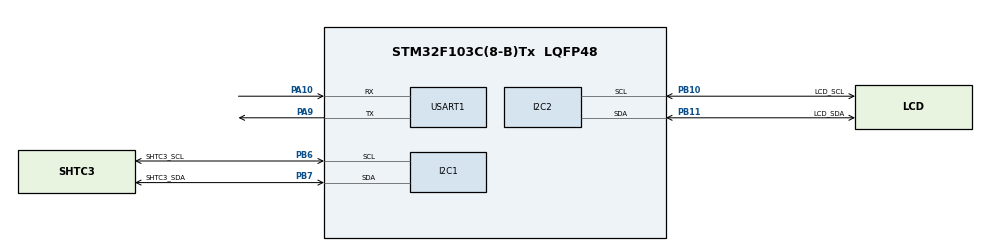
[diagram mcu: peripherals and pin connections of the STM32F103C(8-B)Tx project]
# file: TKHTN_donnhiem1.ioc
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Mcu.Family=STM32F1
Mcu.Name=STM32F103C(8-B)Tx
Mcu.Package=LQFP48
NVIC.PriorityGroup=NVIC_PRIORITYGROUP_4
NVIC.USART1_IRQn=true\:0\:0\:false\:false\:true\:true\:true\:true
PA10.Mode=Asynchronous
PA10.Signal=USART1_RX
PA13.Mode=Serial_Wire
PA13.Signal=SYS_JTMS-SWDIO
PA14.Mode=Serial_Wire
PA14.Signal=SYS_JTCK-SWCLK
PA9.Mode=Asynchronous
PA9.Signal=USART1_TX
PB10.GPIO_Label=LCD_SCL
PB10.Mode=I2C
PB10.Signal=I2C2_SCL
PB11.GPIO_Label=LCD_SDA
PB11.Mode=I2C
PB11.Signal=I2C2_SDA
PB6.GPIO_Label=SHTC3_SCL
PB6.Mode=I2C
PB6.Signal=I2C1_SCL
PB7.GPIO_Label=SHTC3_SDA
PB7.Mode=I2C
PB7.Signal=I2C1_SDA
ProjectManager.HeapSize=0x200
ProjectManager.StackSize=0x400
ProjectManager.TargetToolchain=STM32CubeIDE
RCC.APB1Freq_Value=8000000
RCC.APB2Freq_Value=8000000
USART1.VirtualMode=VM_ASYNC
board=custom

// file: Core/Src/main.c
/* USER CODE BEGIN Header */
/**
  ******************************************************************************
  * @file           : main.c
  * @brief          : Main program body
  ******************************************************************************
  * @attention
  *
  * Copyright (c) 2025 STMicroelectronics.
  * All rights reserved.
  *
  * This software is licensed under terms that can be found in the LICENSE file
  * in the root directory of this software component.
  * If no LICENSE file comes with this software, it is provided AS-IS.
  *
  ******************************************************************************
  */
/* USER CODE END Header */
#include "main.h"

/* USER CODE BEGIN Includes */
#include "CLCD_I2C.h"
#include "string.h"
#include "stdio.h"

/* USER CODE END Includes */

/* USER CODE BEGIN PTD */
typedef enum
{
	DISPLAY_TEMP,
	DISPLAY_HUMID,
	DISPLAY_ALL
} DisplayMode_t;

/* USER CODE END PTD */

I2C_HandleTypeDef hi2c1;
I2C_HandleTypeDef hi2c2;

UART_HandleTypeDef huart1;

/* USER CODE BEGIN PV */
int p = 5000;
volatile DisplayMode_t DisplayMode = DISPLAY_ALL;
CLCD_I2C_Name LCD1;

/* shtc3 -----------------------------------------------*/
#define SHTC3_ADDRESS (0x70<<1)
uint8_t rev_buffer[6];				// buffer giao tiep voi cam bien
uint8_t wakeup_cmd[2] = {0x35,0x17};
uint8_t measure_cmd[2] = {0x7C,0xA2};
uint8_t sleep_cmd[2] = {0xB0,0x98};
float temperature = 0.0f;
float humidity = 0.0f;

uint8_t rxData[5];
uint32_t start_time_SHTC3, end_time_SHTC3, elapsed_time_SHTC3;
uint32_t start_time_CLCD, end_time_CLCD, elapsed_time_CLCD;
uint32_t start_time_UART, end_time_UART, elapsed_time_UART;
/* USER CODE END PV */

void SystemClock_Config(void);
static void MX_GPIO_Init(void);
static void MX_I2C1_Init(void);
static void MX_I2C2_Init(void);
static void MX_USART1_UART_Init(void);
/* USER CODE BEGIN PFP */
void measure();
void write_clcd();
void send_uart();
/* USER CODE END PFP */

/* USER CODE BEGIN 0 */
__weak void HAL_UART_RxCpltCallback(UART_HandleTypeDef *huart)
{
  /* Prevent unused argument(s) compilation warning */
  UNUSED(huart);
  if(huart->Instance == USART1){
	 // rxData[sizeof(rxData) - 1] = '\0';
	if ((rxData[0] == 't') && (rxData[1] == 'e') && (rxData[2] == 'm') && (rxData[3] == 'p'))
	{
		DisplayMode = DISPLAY_TEMP;
		printf("Change Display Mode to DISPLAY_TEMP\r\n\n");
		//memset(rxData, 0, sizeof(rxData));
	}
	else if ((rxData[0] == 'h') && (rxData[1] == 'u') && (rxData[2] == 'm') && (rxData[3] == 'i'))
	{
		DisplayMode = DISPLAY_HUMID;
		printf("Change Display Mode to DISPLAY_HUMI\r\n\n");
		//memset(rxData, 0, sizeof(rxData));
	}
	else if ((rxData[0] == 'b') && (rxData[1] == 'o') && (rxData[2] == 't') && (rxData[3] == 'h'))
	{
		DisplayMode = DISPLAY_ALL;
		printf("Change Display Mode to DISPLAY_ALL\r\n\n");
		//memset(rxData, 0, sizeof(rxData));
	}
	else
	{
		printf("Error Command Syntax\r\n\n");
	}
	HAL_UART_Receive_IT(&huart1, rxData, sizeof(rxData) - 1);
  }

  /* NOTE: This function should not be modified, when the callback is needed,
           the HAL_UART_RxCpltCallback could be implemented in the user file
   */
}
/* USER CODE END 0 */

int main(void)
{

  /* MCU Configuration--------------------------------------------------------*/

  /* Reset of all peripherals, Initializes the Flash interface and the Systick. */
  HAL_Init();

  /* Configure the system clock */
  SystemClock_Config();

  /* Initialize all configured peripherals */
  MX_GPIO_Init();
  MX_I2C1_Init();
  MX_I2C2_Init();
  MX_USART1_UART_Init();
  /* USER CODE BEGIN 2 */
  CLCD_I2C_Init(&LCD1, &hi2c2, 0X4e, 20, 4);
  CLCD_I2C_SetCursor(&LCD1,0,0);
  CLCD_I2C_WriteString(&LCD1,"Start");
  HAL_UART_Receive_IT(&huart1, rxData, sizeof(rxData) - 1);
  /* USER CODE END 2 */

  /* Infinite loop */
  while (1)
  {
  if(uwTick%p == 0){
	  start_time_SHTC3 = HAL_GetTick();
	  measure();
	  end_time_SHTC3 = HAL_GetTick();
	  elapsed_time_SHTC3 = -(start_time_SHTC3 - end_time_SHTC3);

	  start_time_CLCD = HAL_GetTick();
	  write_clcd();
	  end_time_CLCD = HAL_GetTick();
	  elapsed_time_CLCD = -(start_time_CLCD - end_time_CLCD);

	  start_time_UART = HAL_GetTick();
	  send_uart();
	  end_time_UART = HAL_GetTick();
	  elapsed_time_UART = -(start_time_UART - end_time_UART);

	  //HAL_Delay(2000);
	  }
  }
}

void SystemClock_Config(void)
{
  RCC_OscInitTypeDef RCC_OscInitStruct = {0};
  RCC_ClkInitTypeDef RCC_ClkInitStruct = {0};

  /** Initializes the RCC Oscillators according to the specified parameters
  * in the RCC_OscInitTypeDef structure.
  */
  RCC_OscInitStruct.OscillatorType = RCC_OSCILLATORTYPE_HSI;
  RCC_OscInitStruct.HSIState = RCC_HSI_ON;
  RCC_OscInitStruct.HSICalibrationValue = RCC_HSICALIBRATION_DEFAULT;
  RCC_OscInitStruct.PLL.PLLState = RCC_PLL_NONE;
  if (HAL_RCC_OscConfig(&RCC_OscInitStruct) != HAL_OK)
  {
    Error_Handler();
  }

  /** Initializes the CPU, AHB and APB buses clocks
  */
  RCC_ClkInitStruct.ClockType = RCC_CLOCKTYPE_HCLK|RCC_CLOCKTYPE_SYSCLK
                              |RCC_CLOCKTYPE_PCLK1|RCC_CLOCKTYPE_PCLK2;
  RCC_ClkInitStruct.SYSCLKSource = RCC_SYSCLKSOURCE_HSI;
  RCC_ClkInitStruct.AHBCLKDivider = RCC_SYSCLK_DIV1;
  RCC_ClkInitStruct.APB1CLKDivider = RCC_HCLK_DIV1;
  RCC_ClkInitStruct.APB2CLKDivider = RCC_HCLK_DIV1;

  if (HAL_RCC_ClockConfig(&RCC_ClkInitStruct, FLASH_LATENCY_0) != HAL_OK)
  {
    Error_Handler();
  }
}

static void MX_I2C1_Init(void)
{

  hi2c1.Instance = I2C1;
  hi2c1.Init.ClockSpeed = 100000;
  hi2c1.Init.DutyCycle = I2C_DUTYCYCLE_2;
  hi2c1.Init.OwnAddress1 = 0;
  hi2c1.Init.AddressingMode = I2C_ADDRESSINGMODE_7BIT;
  hi2c1.Init.DualAddressMode = I2C_DUALADDRESS_DISABLE;
  hi2c1.Init.OwnAddress2 = 0;
  hi2c1.Init.GeneralCallMode = I2C_GENERALCALL_DISABLE;
  hi2c1.Init.NoStretchMode = I2C_NOSTRETCH_DISABLE;
  if (HAL_I2C_Init(&hi2c1) != HAL_OK)
  {
    Error_Handler();
  }

}

static void MX_I2C2_Init(void)
{

  hi2c2.Instance = I2C2;
  hi2c2.Init.ClockSpeed = 100000;
  hi2c2.Init.DutyCycle = I2C_DUTYCYCLE_2;
  hi2c2.Init.OwnAddress1 = 0;
  hi2c2.Init.AddressingMode = I2C_ADDRESSINGMODE_7BIT;
  hi2c2.Init.DualAddressMode = I2C_DUALADDRESS_DISABLE;
  hi2c2.Init.OwnAddress2 = 0;
  hi2c2.Init.GeneralCallMode = I2C_GENERALCALL_DISABLE;
  hi2c2.Init.NoStretchMode = I2C_NOSTRETCH_DISABLE;
  if (HAL_I2C_Init(&hi2c2) != HAL_OK)
  {
    Error_Handler();
  }

}

static void MX_USART1_UART_Init(void)
{

  huart1.Instance = USART1;
  huart1.Init.BaudRate = 115200;
  huart1.Init.WordLength = UART_WORDLENGTH_8B;
  huart1.Init.StopBits = UART_STOPBITS_1;
  huart1.Init.Parity = UART_PARITY_NONE;
  huart1.Init.Mode = UART_MODE_TX_RX;
  huart1.Init.HwFlowCtl = UART_HWCONTROL_NONE;
  huart1.Init.OverSampling = UART_OVERSAMPLING_16;
  if (HAL_UART_Init(&huart1) != HAL_OK)
  {
    Error_Handler();
  }

}

static void MX_GPIO_Init(void)
{

  /* GPIO Ports Clock Enable */
  __HAL_RCC_GPIOB_CLK_ENABLE();
  __HAL_RCC_GPIOA_CLK_ENABLE();

}

/* USER CODE BEGIN 4 */
void measure(){
	uint16_t hex_ther;
	uint16_t hex_moisture;
	HAL_I2C_Master_Transmit(&hi2c1,SHTC3_ADDRESS, wakeup_cmd ,2, 500);
	HAL_Delay(1);
	HAL_I2C_Master_Transmit(&hi2c1,SHTC3_ADDRESS, measure_cmd ,2, 500);
	HAL_Delay(15);
	HAL_I2C_Master_Receive(&hi2c1,SHTC3_ADDRESS, rev_buffer ,6,500);
	HAL_I2C_Master_Transmit(&hi2c1,SHTC3_ADDRESS, sleep_cmd ,2, 500);
	hex_ther = (rev_buffer[0]<<8)|rev_buffer[1];
	hex_moisture = (rev_buffer[3]<<8)|rev_buffer[4];
	temperature = -45.0f + 175.0f * (float)hex_ther / 65535.0f;
	humidity = 100.0f * (float)hex_moisture / 65535.0f;
}

void write_clcd(){
// char temp_str[16];
  char lcd_str[16];
  switch(DisplayMode){
  case DISPLAY_ALL:
	sprintf(lcd_str, "Humidity: %.2f%%", humidity);
	CLCD_I2C_SetCursor(&LCD1,0,1);
	CLCD_I2C_WriteString(&LCD1,lcd_str);
	sprintf(lcd_str, "Temp: %.2f C   ",temperature);
	CLCD_I2C_SetCursor(&LCD1,0,0);
	CLCD_I2C_WriteString(&LCD1,lcd_str);
	break;
  case DISPLAY_HUMID:
	sprintf(lcd_str, "Humidity: %.2f%%", humidity);
	CLCD_I2C_SetCursor(&LCD1,0,0);
	CLCD_I2C_WriteString(&LCD1,lcd_str);
	CLCD_I2C_SetCursor(&LCD1,0,1);
	CLCD_I2C_WriteString(&LCD1,"                ");
	break;
  case DISPLAY_TEMP:
	sprintf(lcd_str, "Temp: %.2f C   ",temperature);
	CLCD_I2C_SetCursor(&LCD1,0,0);
	CLCD_I2C_WriteString(&LCD1,lcd_str);
	CLCD_I2C_SetCursor(&LCD1,0,1);
	CLCD_I2C_WriteString(&LCD1,"                ");
	break;
  }
}
void send_uart(){
  char data[64];
  sprintf(data, "Temperature: %.2f C, Humidity: %.2f%%\r\n", temperature, humidity);
  HAL_UART_Transmit(&huart1, (uint8_t*)data, strlen(data), 1000);
}

/* USER CODE END 4 */

void Error_Handler(void)
{
  __disable_irq();
  while (1)
  {
  }
}
